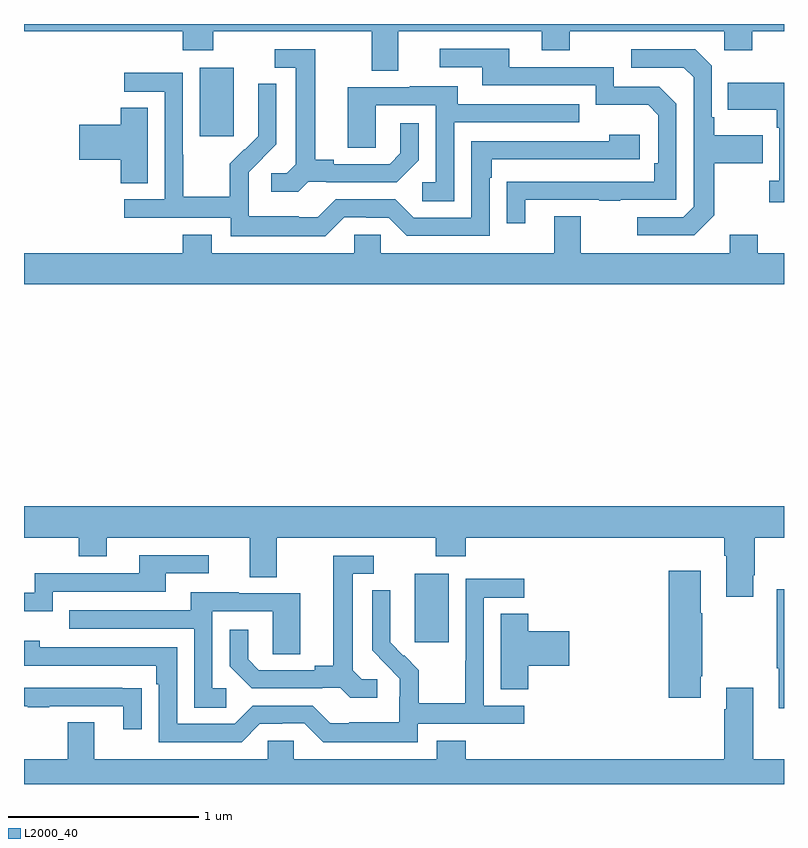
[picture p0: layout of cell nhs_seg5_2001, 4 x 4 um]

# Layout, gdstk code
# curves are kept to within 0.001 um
import gdstk
lib = gdstk.Library(unit=1e-6, precision=1e-09)
def R(c, l, rs):  # rectangles x0, y0, x1, y1
    for r in rs: c.add(gdstk.rectangle(r[:2], r[2:], *l))
def P(c, l, *ps):  # polygons
    for p in ps: c.add(gdstk.Polygon(p, *l))
L2000_40 = (2000, 40)

nhs_seg5_2001 = lib.new_cell('nhs_seg5_2001')
R(nhs_seg5_2001, L2000_40, [(231.056,853.545,231.235,853.906), (229.925,856.209,230.104,856.57)])
P(nhs_seg5_2001, L2000_40, [(230.971,856.76),(231.725,856.76),(231.725,856.661),(231.873,856.661),(231.873,856.76),(232.686,856.76),(232.686,856.661),(232.833,856.661),(232.833,856.76),(233,856.76),(233,856.799),(229,856.799),(229,856.76),(229.835,856.76),(229.835,856.661),(229.995,856.661),(229.995,856.76),(230.831,856.76),(230.831,856.552),(230.971,856.552)],
  [(231.637,855.873),(232.027,855.873),(232.027,855.868),(232.139,855.868),(232.139,855.873),(232.434,855.873),(232.434,856.38),(232.344,856.47),(232.104,856.47),(232.104,856.572),(231.553,856.572),(231.553,856.668),(231.189,856.668),(231.189,856.572),(231.413,856.572),(231.413,856.476),(232.008,856.476),(232.008,856.373),(232.285,856.373),(232.338,856.32),(232.338,856.066),(232.318,856.066),(232.318,855.969),(231.541,855.968),(231.541,855.75),(231.637,855.75)],
  [(230.496,855.969),(230.59,855.969),(230.59,855.966),(230.962,855.966),(231.078,856.082),(231.078,856.276),(230.981,856.276),(230.981,856.119),(230.924,856.062),(230.629,856.062),(230.629,856.085),(230.533,856.085),(230.533,856.665),(230.319,856.665),(230.319,856.569),(230.429,856.569),(230.429,856.061),(230.382,856.014),(230.301,856.014),(230.301,855.917),(230.444,855.917)],
  [(232.633,855.793),(232.633,856.066),(232.889,856.066),(232.889,856.213),(232.633,856.213),(232.633,856.309),(232.62,856.309),(232.62,856.578),(232.533,856.665),(232.197,856.665),(232.197,856.569),(232.473,856.569),(232.524,856.518),(232.524,855.837),(232.47,855.783),(232.227,855.783),(232.227,855.687),(232.527,855.687)],
  [(230.685,855.783),(230.801,855.783),(230.801,855.78),(230.919,855.78),(231.015,855.684),(231.45,855.684),(231.45,855.989),(231.463,855.989),(231.463,856.086),(232.24,856.086),(232.24,856.216),(232.079,856.216),(232.079,856.182),(231.354,856.182),(231.354,855.78),(231.051,855.78),(230.955,855.876),(230.64,855.876),(230.547,855.783),(230.447,855.783),(230.447,855.787),(230.184,855.787),(230.184,855.921),(230.182,855.921),(230.182,856.018),(230.328,856.166),(230.328,856.484),(230.232,856.484),(230.232,856.33),(230.234,856.33),(230.234,856.208),(230.163,856.137),(230.16,856.14),(230.083,856.063),(230.083,855.889),(229.839,855.889),(229.839,856.112),(229.836,856.112),(229.836,856.542),(229.527,856.542),(229.527,856.443),(229.74,856.443),(229.74,855.876),(229.527,855.876),(229.527,855.78),(230.088,855.78),(230.088,855.683),(230.585,855.683)],
  [(233,856.489),(232.705,856.489),(232.705,856.349),(232.962,856.349),(232.962,856.253),(232.974,856.253),(232.974,855.974),(232.923,855.974),(232.923,855.861),(233,855.861)],
  [(231.264,856.281),(231.923,856.281),(231.923,856.377),(231.283,856.377),(231.283,856.471),(231.029,856.471),(231.029,856.467),(230.705,856.467),(230.705,856.147),(230.85,856.147),(230.85,856.371),(231.168,856.371),(231.168,855.966),(231.096,855.966),(231.096,855.865),(231.264,855.865)],
  [(229.651,856.358),(229.508,856.358),(229.508,856.268),(229.29,856.268),(229.29,856.085),(229.508,856.085),(229.508,855.961),(229.651,855.961)],
  [(229.835,855.691),(229.835,855.592),(229,855.592),(229,855.428),(233,855.428),(233,855.592),(232.863,855.592),(232.863,855.691),(232.715,855.691),(232.715,855.592),(231.931,855.592),(231.931,855.787),(231.791,855.787),(231.791,855.592),(230.877,855.592),(230.877,855.69),(230.739,855.69),(230.739,855.592),(229.987,855.592),(229.987,855.691)],
  [(232.837,853.897),(232.845,853.897),(232.845,854.096),(233,854.096),(233,854.26),(229,854.26),(229,854.096),(229.288,854.096),(229.288,853.997),(229.435,853.997),(229.435,854.096),(230.189,854.096),(230.189,853.888),(230.329,853.888),(230.329,854.096),(231.166,854.096),(231.166,853.997),(231.326,853.997),(231.326,854.096),(232.685,854.096),(232.685,854),(232.697,854),(232.697,853.785),(232.837,853.785)],
  [(229.152,853.812),(229.747,853.812),(229.747,853.908),(229.972,853.908),(229.972,854.004),(229.607,854.004),(229.607,853.908),(229.056,853.908),(229.056,853.806),(229,853.806),(229,853.709),(229.152,853.709)],
  [(230.86,853.35),(230.778,853.35),(230.731,853.397),(230.731,853.905),(230.842,853.905),(230.842,854.001),(230.627,854.001),(230.627,853.421),(230.531,853.421),(230.531,853.398),(230.236,853.398),(230.179,853.455),(230.179,853.612),(230.082,853.612),(230.082,853.418),(230.198,853.302),(230.57,853.302),(230.57,853.305),(230.664,853.305),(230.716,853.253),(230.86,853.253)],
  [(232.561,853.366),(232.569,853.366),(232.569,853.697),(232.561,853.697),(232.561,853.921),(232.394,853.921),(232.394,853.254),(232.561,853.254)],
  [(231.072,853.116),(231.634,853.116),(231.634,853.212),(231.42,853.212),(231.42,853.779),(231.634,853.779),(231.634,853.878),(231.324,853.878),(231.324,853.448),(231.322,853.448),(231.322,853.225),(231.077,853.225),(231.077,853.399),(231,853.476),(230.997,853.473),(230.927,853.544),(230.928,853.82),(230.832,853.82),(230.832,853.502),(230.978,853.354),(230.978,853.257),(230.976,853.257),(230.976,853.123),(230.713,853.123),(230.713,853.119),(230.613,853.119),(230.52,853.212),(230.205,853.212),(230.109,853.116),(229.806,853.116),(229.806,853.518),(229.082,853.518),(229.082,853.552),(229,853.552),(229,853.422),(229.697,853.422),(229.697,853.325),(229.71,853.325),(229.71,853.02),(230.145,853.02),(230.241,853.116),(230.36,853.116),(230.36,853.119),(230.475,853.119),(230.575,853.019),(231.072,853.019)],
  [(233,853.825),(232.962,853.825),(232.962,853.409),(232.973,853.409),(232.973,853.197),(233,853.197)],
  [(230.065,853.302),(229.992,853.302),(229.992,853.707),(230.31,853.707),(230.31,853.483),(230.455,853.483),(230.455,853.803),(230.131,853.803),(230.131,853.807),(229.877,853.807),(229.877,853.713),(229.237,853.713),(229.237,853.617),(229.896,853.617),(229.896,853.201),(230.065,853.201)],
  [(231.653,853.421),(231.871,853.421),(231.871,853.604),(231.653,853.604),(231.653,853.694),(231.509,853.694),(231.509,853.297),(231.653,853.297)],
  [(233,852.928),(232.837,852.928),(232.837,853.306),(232.697,853.306),(232.697,853.193),(232.685,853.193),(232.685,852.928),(231.326,852.928),(231.326,853.027),(231.173,853.027),(231.173,852.928),(230.421,852.928),(230.421,853.026),(230.283,853.026),(230.283,852.928),(229.369,852.928),(229.369,853.123),(229.229,853.123),(229.229,852.928),(229,852.928),(229,852.799),(233,852.799)],
  [(229.619,853.304),(229.517,853.304),(229.517,853.305),(229,853.305),(229,853.209),(229.021,853.209),(229.021,853.204),(229.133,853.204),(229.133,853.209),(229.523,853.209),(229.523,853.086),(229.619,853.086)])

lib.write_gds('nhs_seg5_2001.gds')
